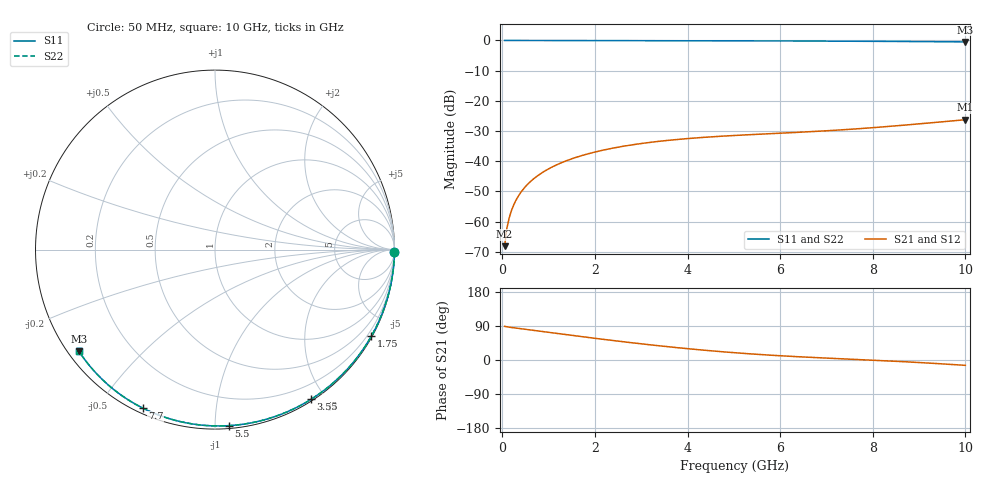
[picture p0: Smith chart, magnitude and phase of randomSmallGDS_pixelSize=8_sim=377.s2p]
! freq	dB(S11)	phase(S11)	dB(S12)	phase(S12)
!  dB(S21)	phase(S21)	dB(S22)	phase(S22)
!S-par simulation data
#  GHz  S  DB  R 50
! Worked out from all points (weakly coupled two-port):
!   200 points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, 50 MHz to 10 GHz, reference 50 ohm
!   highest |S21| = -26.25 dB at 10 GHz (marker M1); lowest = -68.1 dB at 50 MHz (marker M2)
!   lowest |S11| = -0.5 dB at 10 GHz (marker M3), VSWR 36.34, Z = 1.53 - j16.6 ohm
!   |S11| at or under -10 dB: nowhere
!   |S22| runs from -0.5 to 0.0 dB; largest |S21 - S12| = 0
!   S11 on the Smith chart (normalised r, x): 50 MHz: open; 1.75 GHz: 0.03, -3.86; 3.55 GHz: 0.02, -1.83; 5.5 GHz: 0.02, -1.08; 7.7 GHz: 0.02, -0.64; 10 GHz: 0.03, -0.33
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0.05  -0.00 -0.8  -68.14 88.7  -68.14 88.7  -0.00 -0.8
0.1  -0.00 -1.7  -62.17 87.5  -62.17 87.5  -0.00 -1.7
0.15  -0.00 -2.5  -58.70 86.6  -58.70 86.6  -0.00 -2.5
0.2  -0.00 -3.4  -56.24 85.7  -56.24 85.7  -0.00 -3.4
0.25  -0.00 -4.2  -54.34 84.9  -54.34 84.9  -0.00 -4.2
0.35  -0.00 -5.9  -51.46 83.4  -51.46 83.4  -0.00 -5.9
0.5  -0.01 -8.4  -48.41 81.0  -48.41 81.0  -0.01 -8.4
0.7  -0.01 -11.8  -45.54 77.9  -45.54 77.9  -0.01 -11.8
1  -0.02 -16.7  -42.53 73.1  -42.53 73.1  -0.02 -16.7
1.35  -0.03 -22.5  -40.05 67.4  -40.05 67.4  -0.03 -22.5
1.75  -0.04 -29.0  -37.98 61.1  -37.98 61.1  -0.04 -29.0
2.5  -0.05 -41.1  -35.34 49.8  -35.34 49.8  -0.05 -41.1
3.4  -0.07 -55.0  -33.38 37.3  -33.38 37.3  -0.07 -55.0
3.55  -0.08 -57.3  -33.13 35.4  -33.13 35.4  -0.08 -57.3
4.3  -0.10 -68.5  -32.15 26.5  -32.15 26.5  -0.10 -68.5
5.05  -0.12 -79.3  -31.44 18.9  -31.44 18.9  -0.12 -79.3
5.5  -0.14 -85.6  -31.09 15.0  -31.09 15.0  -0.14 -85.6
6.7  -0.20 -101.7  -30.18 6.7  -30.18 6.7  -0.20 -101.7
7.7  -0.26 -114.6  -29.23 1.2  -29.23 1.2  -0.26 -114.6
8.35  -0.31 -122.8  -28.47 -2.5  -28.47 -2.5  -0.31 -122.7
9.2  -0.39 -133.3  -27.36 -8.0  -27.36 -8.0  -0.39 -133.3
10  -0.48 -143.2  -26.25 -14.1  -26.25 -14.1  -0.48 -143.1
